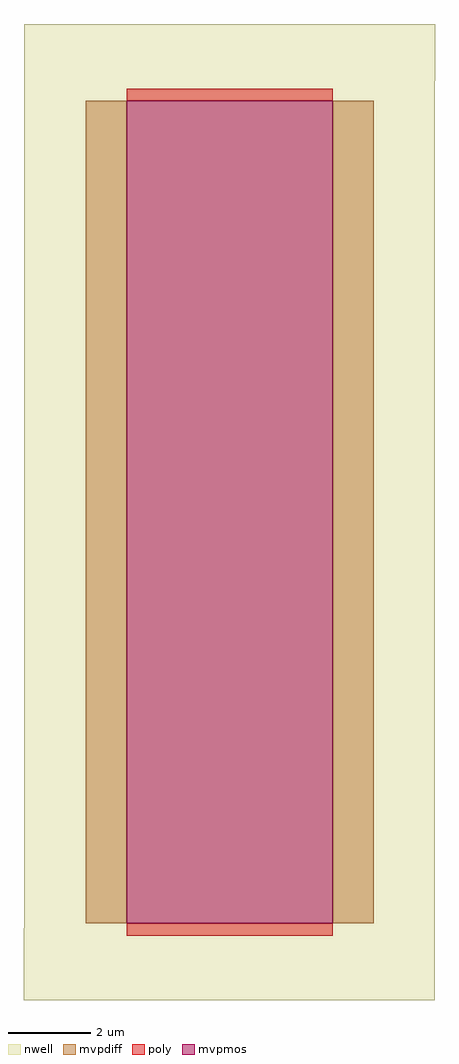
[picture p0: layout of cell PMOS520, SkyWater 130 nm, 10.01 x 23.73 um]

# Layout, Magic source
magic
tech sky130A
<< nwell >>
rect -250 2049 750 2187
rect -250 -11 749 2049
rect -251 -186 749 -11
<< mvpmos >>
rect 0 0 500 2000
<< mvpdiff >>
rect -100 0 0 2000
rect 500 0 600 2000
<< poly >>
rect 0 2000 500 2030
rect 0 -30 500 0
<< end >>
